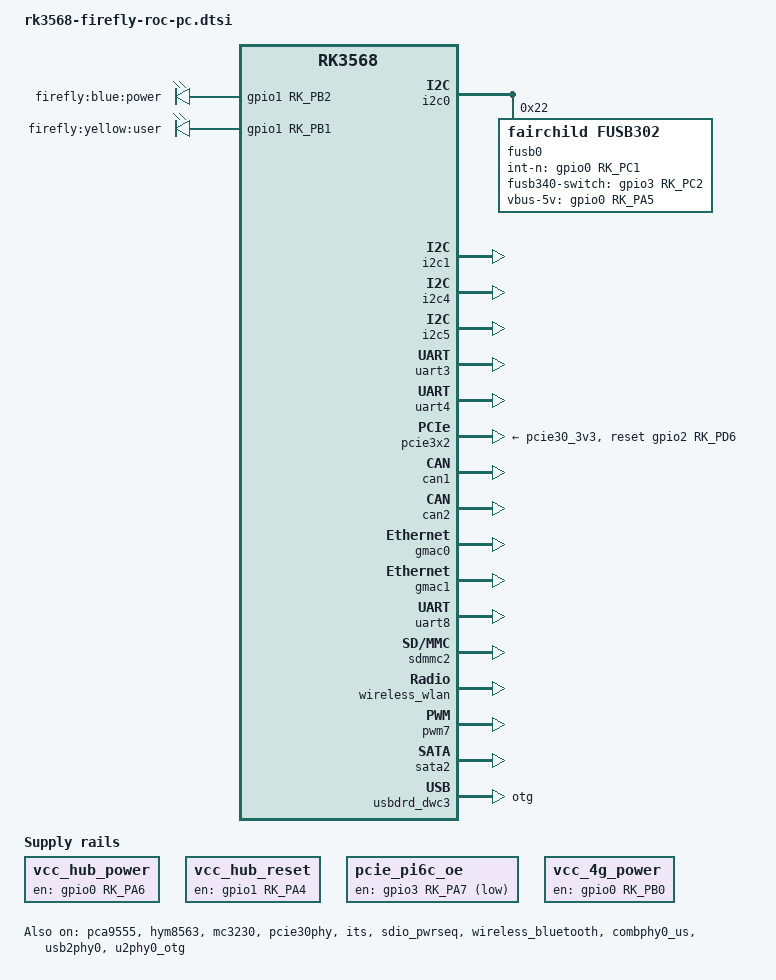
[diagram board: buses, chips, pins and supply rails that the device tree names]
// SPDX-License-Identifier: (GPL-2.0+ OR MIT)
/*
 * Copyright (c) 2020 Rockchip Electronics Co., Ltd.
 *
 */

#include "rk3568-firefly-port.dtsi"

/ {
	aliases {
		led-boot = &user_led;
		led-failsafe = &user_led;
		led-running = &user_led;
		led-upgrade = &user_led;
	};
	vcc_hub_power: vcc-hub-power-regulator {
		compatible = "regulator-fixed";
		enable-active-high;
		gpio = <&gpio0 RK_PA6 GPIO_ACTIVE_HIGH>;
		pinctrl-names = "default";
		pinctrl-0 = <&vcc_hub_power_en>;
		regulator-name = "vcc_hub_power_en";
		regulator-always-on;
	};

	vcc_hub_reset: vcc-hub-reset-regulator {
		compatible = "regulator-fixed";
		enable-active-high;
		gpio = <&gpio1 RK_PA4 GPIO_ACTIVE_HIGH>;
		pinctrl-names = "default";
		pinctrl-0 = <&vcc_hub_reset_en>;
		regulator-name = "vcc_hub_reset_en";
		regulator-always-on;
	};

    pcie_pi6c_oe: pcie-pi6c-oe-regulator {
		compatible = "regulator-fixed";
		//enable-active-high;
		gpio = <&gpio3 RK_PA7 GPIO_ACTIVE_LOW>;
		pinctrl-names = "default";
		pinctrl-0 = <&pcie_pi6c_oe_en>;
		regulator-name = "pcie_pi6c_oe_en";
		regulator-always-on;
	};

    vcc_4g_power: vcc-4g-power-regulator {
        compatible = "regulator-fixed";
        enable-active-high;
        gpio = <&gpio0 RK_PB0 GPIO_ACTIVE_HIGH>;
        pinctrl-names = "default";
        pinctrl-0 = <&vcc_4g_power_en>;
        regulator-name = "vcc_4g_power_en";
        regulator-always-on;
    };

	firefly_leds: leds {
		status = "okay";
		compatible = "gpio-leds";
		pinctrl-names = "default";
		pinctrl-0 = <&led_power>,
			<&led_user>;
		power_led: power {
			label = "firefly:blue:power";
			linux,default-trigger = "ir-power-click";
			default-state = "on";
			gpios = <&gpio1 RK_PB2 GPIO_ACTIVE_HIGH>;

		};

		user_led: user {
			label = "firefly:yellow:user";
			linux,default-trigger = "ir-user-click";
			default-state = "off";
			gpios = <&gpio1 RK_PB1 GPIO_ACTIVE_HIGH>;
		};

    };
};

&csi2_dphy0 {
	status = "disabled";
};

&i2c0 {
    status = "okay";

	fusb0: fusb30x@22 {
		compatible = "fairchild,fusb302";
		reg = <0x22>;
		pinctrl-names = "default";
		pinctrl-0 = <&fusb0_int>;
		int-n-gpios = <&gpio0 RK_PC1 GPIO_ACTIVE_HIGH>;
		fusb340-switch-gpios = <&gpio3 RK_PC2 GPIO_ACTIVE_HIGH>;
		vbus-5v-gpios = <&gpio0 RK_PA5 GPIO_ACTIVE_HIGH>;
		status = "okay";
	};
};

&i2c1 {
    status = "okay";
};

&i2c4 {
	status = "okay";
};

&pca9555 {
    status = "okay";
};

&i2c5 {
    status = "okay";
};

&hym8563 {
    status = "okay";
};

&mc3230 {
    status = "okay";
};

&uart3 {
	status = "okay";
};

&uart4 {
        status = "okay";
};

&spi1 {
	status = "disabled";
};

&spi_wk2xxx {
	status = "disabled";
};

&pcie30phy {
       status = "okay";
};

&pcie3x2 {
        reset-gpios = <&gpio2 RK_PD6 GPIO_ACTIVE_HIGH>;
        vpcie3v3-supply = <&pcie30_3v3>;

       status = "okay";
};

&its {
    status = "okay";
};

&can1 {
    status = "okay";
};

&can2 {
    status = "okay";
};

&gmac0 {
    status = "okay";
};

&gmac1 {
    status = "okay";
};

&rgmii_phy0 {
	led_status_value = <0x6940>;
};

&rgmii_phy1 {
	led_status_value = <0x6940>;
};

&uart8 {
	status = "okay";
};

&sdio_pwrseq {
	status = "okay";
	reset-gpios = <&gpio3 RK_PD5 GPIO_ACTIVE_LOW>;
	post-power-on-delay-ms = <100>;
};

&sdmmc2 {
	status = "okay";
};

&wireless_wlan {
	wifi_chip_type = "ap6275s";
	status = "okay";
};

&wireless_bluetooth {
	status = "okay";
};

&spdif_8ch{
    status = "disabled";
};

&rk809 {
    rtc {
        status = "disabled";
    };
};

&pwm7 {
	status = "okay";
};

&sata2 {
	status = "okay";
};

&vcc3v3_vga {
	status = "disabled";
};

&vcc5v0_otg {
	status = "disabled";
};

&combphy0_us {
	status = "okay";
	extcon = <&fusb0>;
};

&usbdrd_dwc3 {
	dr_mode = "otg";
	extcon = <&fusb0>;
	status = "okay";
};

&usb2phy0 {
	status = "okay";
	extcon = <&fusb0>;
};

&u2phy0_otg {
	/delete-property/ vbus-supply;
	status = "okay";
};


&pinctrl {

	usb {
		vcc_hub_power_en: vcc-hub-power-en {
			rockchip,pins = <0 RK_PA6 RK_FUNC_GPIO &pcfg_pull_none>;
		};

		vcc_hub_reset_en: vcc-hub-reset-en {
			rockchip,pins = <1 RK_PA4 RK_FUNC_GPIO &pcfg_pull_none>;
		};
	};

	fusb30x {
		fusb0_int: fusb0-int {
			rockchip,pins = <0 RK_PC1 RK_FUNC_GPIO &pcfg_pull_up>;
		};
	};

    pcie {
        pcie_pi6c_oe_en: pcie-pi6c-oe-en {
			rockchip,pins = <3 RK_PA7 RK_FUNC_GPIO &pcfg_pull_none>;
		};
    };

	4g {
	    vcc_4g_power_en: vcc-4g-power-en {
	        rockchip,pins = <0 RK_PB0 RK_FUNC_GPIO &pcfg_pull_none>;
	    };
	};

	leds {
	    led_power: led-power {
			rockchip,pins = <1 RK_PB2 RK_FUNC_GPIO &pcfg_pull_none>;
	    };

	    led_user: led-user {
			rockchip,pins = <1 RK_PB1 RK_FUNC_GPIO &pcfg_pull_none>;
	    };
	};
};
